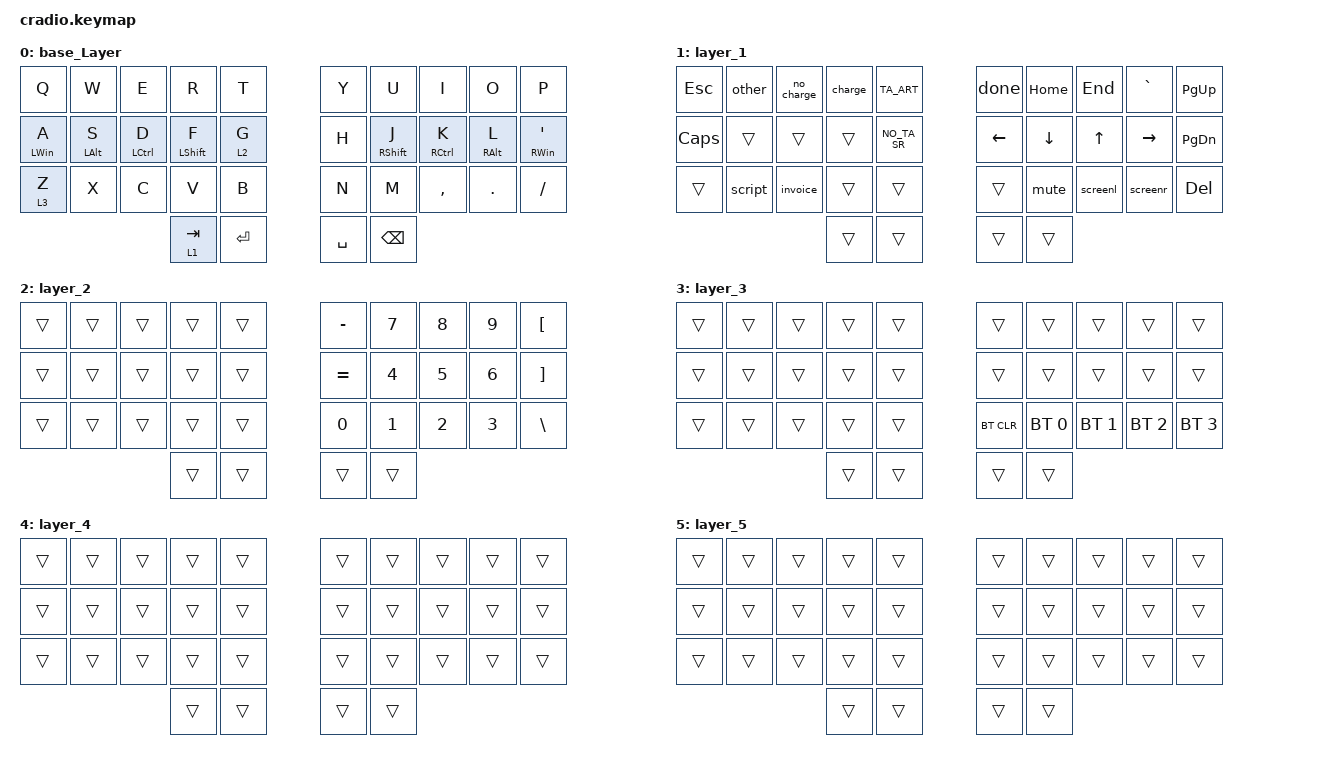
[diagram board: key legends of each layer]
// Copyright (c) 2022 The ZMK Contributors
// SPDX-License-Identifier: MIT

#include <behaviors.dtsi>
#include <dt-bindings/zmk/bt.h>
#include <dt-bindings/zmk/keys.h>

/ {
    conditional_layers { compatible = "zmk,conditional-layers"; };

    behaviors {
        hrml: hrml {
            compatible = "zmk,behavior-hold-tap";
            label = "HRML";
            bindings = <&kp>, <&kp>;

            #binding-cells = <2>;
            tapping-term-ms = <250>;
            quick-tap-ms = <175>;
            flavor = "balanced";
            hold-trigger-on-release;
            hold-trigger-key-positions = <5 6 7 8 9 15 16 17 18 19 25 26 27 28 29 32 33>;
        };

        hrmr: hrmr {
            compatible = "zmk,behavior-hold-tap";
            label = "HRMR";
            bindings = <&kp>, <&kp>;

            #binding-cells = <2>;
            tapping-term-ms = <250>;
            quick-tap-ms = <175>;
            flavor = "balanced";
            hold-trigger-on-release;
            hold-trigger-key-positions = <0 1 2 3 4 10 11 12 13 14 20 21 22 23 24 30 31>;
        };
    };

    macros {
        TA_ART: TA_ART {
            compatible = "zmk,behavior-macro";
            #binding-cells = <0>;
            bindings = <&kp LS(A) &kp LS(R) &kp LS(T) &kp MINUS &kp LS(T) &kp LS(A) &kp SPACE>;
            label = "TA_ART";
        };

        NO_TA_SR: NO_TA_SR {
            compatible = "zmk,behavior-macro";
            #binding-cells = <0>;
            bindings = <&kp LS(N) &kp LS(O) &kp SPACE &kp LS(T) &kp LS(A) &kp SPACE &kp LS(S) &kp LS(R)>;
            label = "NO_TA_SR";
        };

        other: other {
            compatible = "zmk,behavior-macro";
            #binding-cells = <0>;
            bindings =
                <&kp LS(O) &kp T &kp H>,
                <&macro_wait_time 100>,
                <&kp TAB>;

            label = "OTHER";
        };

        charge: charge {
            compatible = "zmk,behavior-macro";
            #binding-cells = <0>;
            bindings = <&kp LS(P) &kp LS(L) &kp LS(E) &kp LS(A) &kp LS(S) &kp LS(E) &kp SPACE &kp LS(B) &kp LS(I) &kp LS(L) &kp LS(L) &kp SPACE &kp LS(T) &kp LS(H) &kp LS(E) &kp SPACE &kp LS(C) &kp LS(O) &kp LS(R) &kp LS(R) &kp LS(E) &kp LS(C) &kp LS(T) &kp SPACE &kp LS(A) &kp LS(M) &kp LS(O) &kp LS(U) &kp LS(N) &kp LS(T) &kp SPACE &kp LS(F) &kp LS(O) &kp LS(R) &kp SPACE &kp LS(M) &kp LS(Y) &kp SPACE &kp LS(T) &kp LS(I) &kp LS(M) &kp LS(E)>;
            label = "CHARGE";
        };

        no_charge: no_charge {
            compatible = "zmk,behavior-macro";
            #binding-cells = <0>;
            bindings = <&kp LS(P) &kp LS(L) &kp LS(E) &kp LS(A) &kp LS(S) &kp LS(E) &kp SPACE &kp LS(D) &kp LS(O) &kp SPACE &kp LS(N) &kp LS(O) &kp LS(T) &kp SPACE &kp LS(B) &kp LS(I) &kp LS(L) &kp LS(L) &kp SPACE &kp LS(F) &kp LS(O) &kp LS(R) &kp SPACE &kp LS(M) &kp LS(Y) &kp SPACE &kp LS(T) &kp LS(I) &kp LS(M) &kp LS(E) &kp COMMA &kp SPACE &kp LS(T) &kp LS(E) &kp LS(C) &kp LS(H) &kp SPACE &kp LS(N) &kp LS(E) &kp LS(E) &kp LS(D) &kp LS(E) &kp LS(D) &kp SPACE &kp LS(O) &kp LS(N) &kp SPACE &kp LS(S) &kp LS(I) &kp LS(T) &kp LS(E)>;
            label = "NO_CHARGE";
        };

        invoice: invoice {
            compatible = "zmk,behavior-macro";
            #binding-cells = <0>;
            bindings = <&kp LS(T) &kp E &kp C &kp H &kp SPACE &kp LS(A) &kp D &kp V &kp I &kp S &kp O &kp R &kp SPACE &kp LS(C) &kp A &kp L &kp L &kp SPACE &kp MINUS &kp SPACE &kp MINUS &kp SPACE &kp MINUS &kp SPACE &kp LS(P) &kp LS(O) &kp LS(C) &kp SPACE>;
            label = "INVOICE";
        };

        script: script {
            compatible = "zmk,behavior-macro";
            #binding-cells = <0>;
            bindings =
                <&kp C &kp R &kp E &kp A &kp T &kp E &kp UNDER &kp C &kp A &kp L &kp L &kp UNDER &kp L &kp O &kp G &kp DOT &kp C &kp M &kp D>,
                <&macro_wait_time 100>,
                <&kp ENTER>;

            label = "SCRIPT";
        };

        done: done {
            compatible = "zmk,behavior-macro";
            #binding-cells = <0>;
            bindings =
                <&kp STAR &kp STAR &kp LS(D) &kp LS(O) &kp LS(N) &kp LS(E) &kp STAR &kp STAR>,
                <&macro_wait_time 100>,
                <&kp ENTER>;

            label = "DONE";
        };

        mute: mute {
            compatible = "zmk,behavior-macro";
            #binding-cells = <0>;
            bindings = <&kp LCTRL &kp LALT &kp M>;
            label = "MUTE";
        };

        screenl: screenl {
            compatible = "zmk,behavior-macro";
            #binding-cells = <0>;
            bindings = <&kp LGUI &kp LCTRL &kp LEFT>;
            label = "SCREENL";
        };

        screenr: screenr {
            compatible = "zmk,behavior-macro";
            #binding-cells = <0>;
            bindings = <&kp RGUI &kp RCTRL &kp RIGHT>;
            label = "SCREENR";
        };
    };

    keymap {
        compatible = "zmk,keymap";

        base_Layer {
            bindings = <
&kp Q             &kp W             &kp E          &kp R               &kp T        &kp Y      &kp U                &kp I          &kp O              &kp P
&hrml LEFT_WIN A  &hrml LEFT_ALT S  &hrml LCTRL D  &hrml LEFT_SHIFT F  &lt 2 G      &kp H      &hrmr RIGHT_SHIFT J  &hrmr RCTRL K  &hrmr RIGHT_ALT L  &hrmr RIGHT_WIN SQT
&lt 3 Z           &kp X             &kp C          &kp V               &kp B        &kp N      &kp M                &kp COMMA      &kp DOT            &kp FSLH
                                                   &lt 1 TAB           &kp ENTER    &kp SPACE  &kp BACKSPACE
            >;
        };

        layer_1 {
            bindings = <
&kp ESC       &other   &no_charge  &charge  &TA_ART      &done           &kp HOME  &kp END       &kp GRAVE  &kp PG_UP
&kp CAPSLOCK  &trans   &trans      &trans   &NO_TA_SR    &kp LEFT_ARROW  &kp DOWN  &kp UP_ARROW  &kp RIGHT  &kp PG_DN
&trans        &script  &invoice    &trans   &trans       &trans          &mute     &screenl      &screenr   &kp DEL
                                   &trans   &trans       &trans          &trans
            >;
        };

        layer_2 {
            bindings = <
&trans  &trans  &trans  &trans  &trans    &kp MINUS  &kp N7        &kp N8  &kp N9  &kp LBKT
&trans  &trans  &trans  &trans  &trans    &kp EQUAL  &kp N4        &kp N5  &kp N6  &kp RBKT
&trans  &trans  &trans  &trans  &trans    &kp N0     &kp NUMBER_1  &kp N2  &kp N3  &kp BSLH
                        &trans  &trans    &trans     &trans
            >;
        };

        layer_3 {
            bindings = <
&trans  &trans  &trans  &trans  &trans    &trans      &trans        &trans        &trans        &trans
&trans  &trans  &trans  &trans  &trans    &trans      &trans        &trans        &trans        &trans
&trans  &trans  &trans  &trans  &trans    &bt BT_CLR  &bt BT_SEL 0  &bt BT_SEL 1  &bt BT_SEL 2  &bt BT_SEL 3
                        &trans  &trans    &trans      &trans
            >;
        };

        layer_4 {
            bindings = <
&trans  &trans  &trans  &trans  &trans    &trans  &trans  &trans  &trans  &trans
&trans  &trans  &trans  &trans  &trans    &trans  &trans  &trans  &trans  &trans
&trans  &trans  &trans  &trans  &trans    &trans  &trans  &trans  &trans  &trans
                        &trans  &trans    &trans  &trans
            >;
        };

        layer_5 {
            bindings = <
&trans  &trans  &trans  &trans  &trans    &trans  &trans  &trans  &trans  &trans
&trans  &trans  &trans  &trans  &trans    &trans  &trans  &trans  &trans  &trans
&trans  &trans  &trans  &trans  &trans    &trans  &trans  &trans  &trans  &trans
                        &trans  &trans    &trans  &trans
            >;
        };
    };
};
